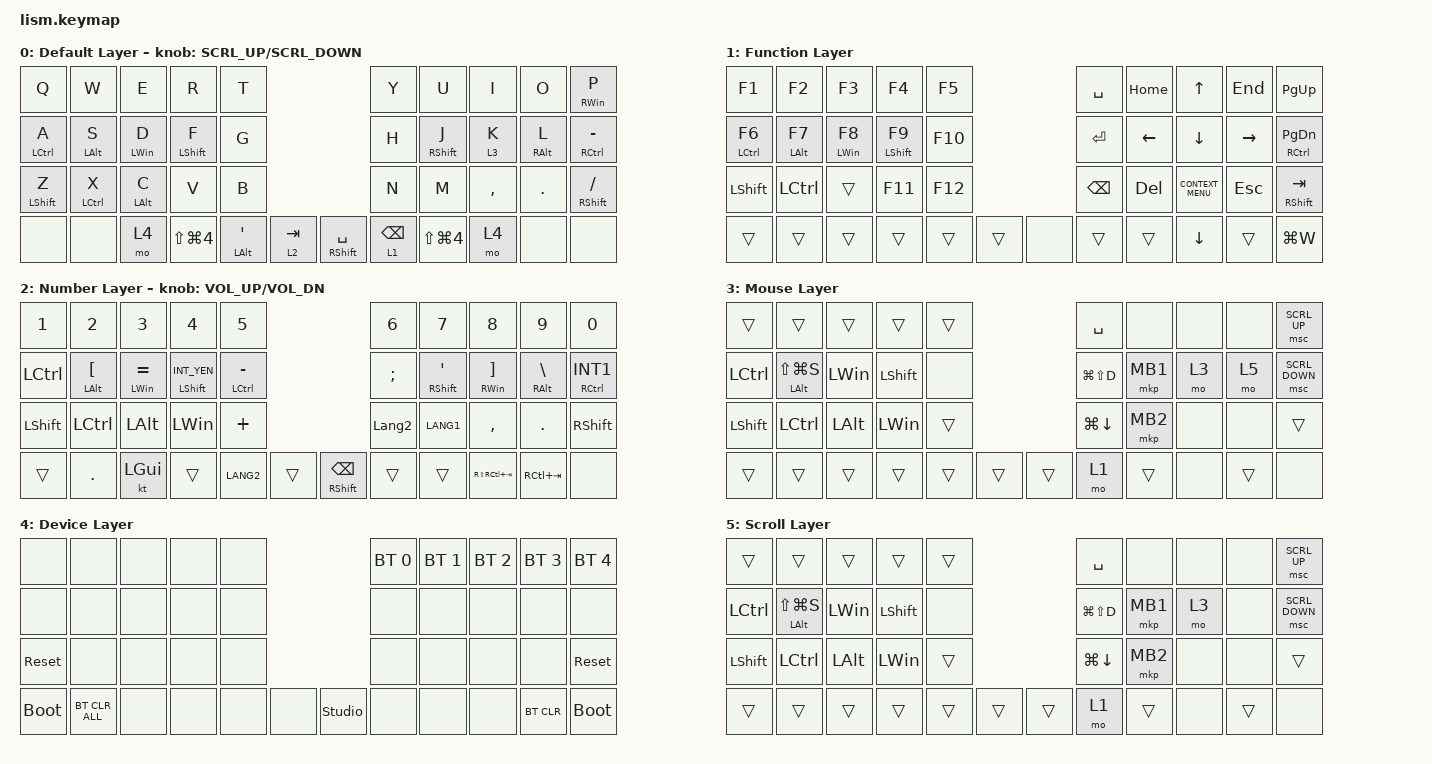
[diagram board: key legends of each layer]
#define ZMK_POINTING_DEFAULT_SCRL_VAL 200

#include <dt-bindings/zmk/mouse.h>
#include <input/processors.dtsi>
#include <behaviors.dtsi>
#include <dt-bindings/zmk/bt.h>
#include <dt-bindings/zmk/keys.h>
#include <dt-bindings/zmk/pointing.h>

&mt {
    tapping-term-ms = <300>;
    flavor = "balanced";
};

&lt { quick-tap-ms = <300>; };

/ {
    macros {
        emoji: emoji_macro {
            compatible = "zmk,behavior-macro";
            label = "EMOJI";
            #binding-cells = <0>;
            bindings =
                <&macro_press>,
                <&kp CAPSLOCK>,
                <&macro_tap>,
                <&kp E>,
                <&macro_release>,
                <&kp CAPSLOCK>;
        };
    };

    behaviors {
        encoder_msc: sensor_rotate_msc {
            compatible = "zmk,behavior-sensor-rotate-var";
            #sensor-binding-cells = <2>;
            bindings = <&msc>, <&msc>;

            tap-ms = <20>;
        };

        encoder_kp: sensor_rotate_kp {
            compatible = "zmk,behavior-sensor-rotate-var";
            #sensor-binding-cells = <2>;
            bindings = <&kp>, <&kp>;
        };
    };

    keymap {
        compatible = "zmk,keymap";

        default_layer {
            display-name = "Default Layer";
            bindings = <
&kp Q         &kp W        &kp E       &kp R           &kp T                                             &kp Y            &kp U           &kp I      &kp O       &mt RWIN P
&mt LCTRL A   &mt LALT S   &mt LWIN D  &mt LSHIFT F    &kp G                                             &kp H            &mt RSHIFT J    &lt 3 K    &mt RALT L  &mt RCTRL MINUS
&mt LSHIFT Z  &mt LCTRL X  &mt LALT C  &kp V           &kp B                                             &kp N            &kp M           &kp COMMA  &kp DOT     &mt RSHIFT SLASH
&none         &none        &mo 4       &kp LS(LG(N4))  &mt LEFT_ALT APOS  &lt 2 TAB    &mt RSHIFT SPACE  &lt 1 BACKSPACE  &kp LS(LG(N4))  &mo 4      &none       &none
            >;

            sensor-bindings = <&encoder_msc SCRL_UP SCRL_DOWN>;
        };

        layer_1 {
            display-name = "Function Layer";
            bindings = <
&kp F1        &kp F2           &kp F3       &kp F4         &kp F5                    &kp SPACE      &kp HOME    &kp UP              &kp END     &kp PAGE_UP
&mt LCTRL F6  &mt LEFT_ALT F7  &mt LWIN F8  &mt LSHIFT F9  &kp F10                   &kp ENTER      &kp LEFT    &kp DOWN_ARROW      &kp RIGHT   &mt RCTRL PAGE_DOWN
&kp LSHIFT    &kp LCTRL        &trans       &kp F11        &kp F12                   &kp BACKSPACE  &kp DELETE  &kp K_CONTEXT_MENU  &kp ESCAPE  &mt RSHFT TAB
&trans        &trans           &trans       &trans         &trans   &trans    &none  &trans         &trans      &kp DOWN            &trans      &kp LG(W)
            >;
        };

        layer_2 {
            display-name = "Number Layer";
            bindings = <
&kp N1     &kp N2                     &kp N3          &kp N4              &kp N5                                           &kp N6          &kp N7                   &kp N8                  &kp N9                   &kp N0
&kp LCTRL  &mt LEFT_ALT LEFT_BRACKET  &mt LWIN EQUAL  &mt LSHIFT INT_YEN  &mt LCTRL MINUS                                  &kp SEMI        &mt RSHIFT SINGLE_QUOTE  &mt RWIN RIGHT_BRACKET  &mt RIGHT_ALT BACKSLASH  &mt RCTRL INT1
&kp LSHFT  &kp LCTRL                  &kp LALT        &kp LWIN            &kp PLUS                                         &kp LANGUAGE_2  &kp LANG1                &kp COMMA               &kp PERIOD               &kp RSHIFT
&trans     &kp DOT                    &kt LGUI        &trans              &kp LANG2        &trans    &mt RSHIFT BACKSPACE  &trans          &trans                   &kp RS(RC(TAB))         &kp RC(TAB)              &none
            >;

            sensor-bindings = <&encoder_kp C_VOL_UP C_VOL_DN>;
        };

        layer_3 {
            display-name = "Mouse Layer";
            bindings = <
&trans      &trans                  &trans        &trans      &trans                    &kp SPACE      &none     &none  &none   &msc SCRL_UP
&kp LCTRL   &mt LEFT_ALT LS(LG(S))  &kp LEFT_WIN  &kp LSHIFT  &none                     &kp LG(LS(D))  &mkp MB1  &mo 3  &mo 5   &msc SCRL_DOWN
&kp LSHIFT  &kp LCTRL               &kp LEFT_ALT  &kp LWIN    &trans                    &kp LG(DOWN)   &mkp MB2  &none  &none   &trans
&trans      &trans                  &trans        &trans      &trans  &trans    &trans  &mo 1          &trans    &none  &trans  &none
            >;
        };

        layer_4 {
            display-name = "Device Layer";
            bindings = <
&none        &none           &none  &none  &none                           &bt BT_SEL 0  &bt BT_SEL 1  &bt BT_SEL 2  &bt BT_SEL 3  &bt BT_SEL 4
&none        &none           &none  &none  &none                           &none         &none         &none         &none         &none
&sys_reset   &none           &none  &none  &none                           &none         &none         &none         &none         &sys_reset
&bootloader  &bt BT_CLR_ALL  &none  &none  &none  &none    &studio_unlock  &none         &none         &none         &bt BT_CLR    &bootloader
            >;
        };

        layer_5 {
            display-name = "Scroll Layer";
            bindings = <
&trans      &trans                  &trans        &trans      &trans                    &kp SPACE      &none     &none  &none   &msc SCRL_UP
&kp LCTRL   &mt LEFT_ALT LS(LG(S))  &kp LEFT_WIN  &kp LSHIFT  &none                     &kp LG(LS(D))  &mkp MB1  &mo 3  &none   &msc SCRL_DOWN
&kp LSHIFT  &kp LCTRL               &kp LEFT_ALT  &kp LWIN    &trans                    &kp LG(DOWN)   &mkp MB2  &none  &none   &trans
&trans      &trans                  &trans        &trans      &trans  &trans    &trans  &mo 1          &trans    &none  &trans  &none
            >;
        };
    };
};
